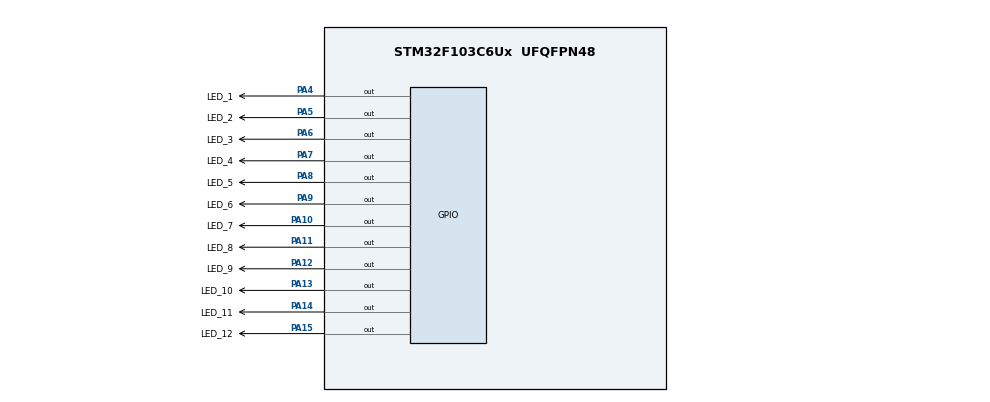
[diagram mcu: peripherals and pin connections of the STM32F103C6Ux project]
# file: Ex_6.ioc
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Mcu.Family=STM32F1
Mcu.Name=STM32F103C6Ux
Mcu.Package=UFQFPN48
NVIC.PriorityGroup=NVIC_PRIORITYGROUP_4
PA10.GPIO_Label=LED_7
PA10.Signal=GPIO_Output
PA11.GPIO_Label=LED_8
PA11.Signal=GPIO_Output
PA12.GPIO_Label=LED_9
PA12.Signal=GPIO_Output
PA13.GPIO_Label=LED_10
PA13.Signal=GPIO_Output
PA14.GPIO_Label=LED_11
PA14.Signal=GPIO_Output
PA15.GPIO_Label=LED_12
PA15.Signal=GPIO_Output
PA4.GPIO_Label=LED_1
PA4.Signal=GPIO_Output
PA5.GPIO_Label=LED_2
PA5.Signal=GPIO_Output
PA6.GPIO_Label=LED_3
PA6.Signal=GPIO_Output
PA7.GPIO_Label=LED_4
PA7.Signal=GPIO_Output
PA8.GPIO_Label=LED_5
PA8.Signal=GPIO_Output
PA9.GPIO_Label=LED_6
PA9.Signal=GPIO_Output
ProjectManager.HeapSize=0x200
ProjectManager.StackSize=0x400
ProjectManager.TargetToolchain=STM32CubeIDE
RCC.APB1Freq_Value=8000000
RCC.APB2Freq_Value=8000000
VP_SYS_VS_ND.Mode=No_Debug
board=custom

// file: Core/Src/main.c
/* USER CODE BEGIN Header */
/**
  ******************************************************************************
  * @file           : main.c
  * @brief          : Main program body
  ******************************************************************************
  * @attention
  *
  * <h2><center>&copy; Copyright (c) 2025 STMicroelectronics.
  * All rights reserved.</center></h2>
  *
  * This software component is licensed by ST under BSD 3-Clause license,
  * the "License"; You may not use this file except in compliance with the
  * License. You may obtain a copy of the License at:
  *                        opensource.org/licenses/BSD-3-Clause
  *
  ******************************************************************************
  */
/* USER CODE END Header */
#include "main.h"

void SystemClock_Config(void);
void clearAllClock();
void setNumberOnClock(int num);
//void clearNumberOnClock(int num);
static void MX_GPIO_Init(void);
/* USER CODE BEGIN PFP */
GPIO_TypeDef *LED_PORTS[12] = {
		LED_1_GPIO_Port, LED_2_GPIO_Port, LED_3_GPIO_Port,
		LED_4_GPIO_Port, LED_5_GPIO_Port, LED_6_GPIO_Port,
		LED_7_GPIO_Port, LED_8_GPIO_Port, LED_9_GPIO_Port,
		LED_10_GPIO_Port, LED_11_GPIO_Port, LED_12_GPIO_Port
};

uint16_t LED_PINS[12] = {
		LED_1_Pin, LED_2_Pin, LED_3_Pin,
		LED_4_Pin, LED_5_Pin, LED_6_Pin,
		LED_7_Pin, LED_8_Pin, LED_9_Pin,
		LED_10_Pin, LED_11_Pin, LED_12_Pin
};

/* USER CODE END PFP */

int main(void)
{
  /* USER CODE BEGIN 1 */
	int cnt_hour = 0;
	int cnt_min = 0;
	int cnt_sec = 0;
  /* USER CODE END 1 */

  /* MCU Configuration--------------------------------------------------------*/

  /* Reset of all peripherals, Initializes the Flash interface and the Systick. */
  HAL_Init();

  /* Configure the system clock */
  SystemClock_Config();

  /* Initialize all configured peripherals */
  MX_GPIO_Init();

  /* Infinite loop */
  while (1)
  {

    /* USER CODE BEGIN 3 */
	  clearAllClock();
	  setNumberOnClock(cnt_hour % 12);
	  setNumberOnClock(cnt_min % 12);
	  setNumberOnClock(cnt_sec % 12);
	  HAL_Delay(1000);
	  cnt_sec++;
	  if (cnt_sec >= 60) {
		  cnt_sec = 0;
		  cnt_min++;
	  }
	  if (cnt_min >= 60) {
		  cnt_min = 0;
		  cnt_hour++;
	  }
	  if (cnt_hour == 12) {
		  cnt_hour = 0;
	  }
//
	  clearAllClock();
  }
  /* USER CODE END 3 */

}

void SystemClock_Config(void)
{
  RCC_OscInitTypeDef RCC_OscInitStruct = {0};
  RCC_ClkInitTypeDef RCC_ClkInitStruct = {0};

  /** Initializes the RCC Oscillators according to the specified parameters
  * in the RCC_OscInitTypeDef structure.
  */
  RCC_OscInitStruct.OscillatorType = RCC_OSCILLATORTYPE_HSI;
  RCC_OscInitStruct.HSIState = RCC_HSI_ON;
  RCC_OscInitStruct.HSICalibrationValue = RCC_HSICALIBRATION_DEFAULT;
  RCC_OscInitStruct.PLL.PLLState = RCC_PLL_NONE;
  if (HAL_RCC_OscConfig(&RCC_OscInitStruct) != HAL_OK)
  {
    Error_Handler();
  }
  /** Initializes the CPU, AHB and APB buses clocks
  */
  RCC_ClkInitStruct.ClockType = RCC_CLOCKTYPE_HCLK|RCC_CLOCKTYPE_SYSCLK
                              |RCC_CLOCKTYPE_PCLK1|RCC_CLOCKTYPE_PCLK2;
  RCC_ClkInitStruct.SYSCLKSource = RCC_SYSCLKSOURCE_HSI;
  RCC_ClkInitStruct.AHBCLKDivider = RCC_SYSCLK_DIV1;
  RCC_ClkInitStruct.APB1CLKDivider = RCC_HCLK_DIV1;
  RCC_ClkInitStruct.APB2CLKDivider = RCC_HCLK_DIV1;

  if (HAL_RCC_ClockConfig(&RCC_ClkInitStruct, FLASH_LATENCY_0) != HAL_OK)
  {
    Error_Handler();
  }
}

static void MX_GPIO_Init(void)
{
  GPIO_InitTypeDef GPIO_InitStruct = {0};

  /* GPIO Ports Clock Enable */
  __HAL_RCC_GPIOA_CLK_ENABLE();

  /*Configure GPIO pin Output Level */
  HAL_GPIO_WritePin(GPIOA, LED_1_Pin|LED_2_Pin|LED_3_Pin|LED_4_Pin
                          |LED_5_Pin|LED_6_Pin|LED_7_Pin|LED_8_Pin
                          |LED_9_Pin|LED_10_Pin|LED_11_Pin|LED_12_Pin, GPIO_PIN_RESET);

  /*Configure GPIO pins : LED_1_Pin LED_2_Pin LED_3_Pin LED_4_Pin
                           LED_5_Pin LED_6_Pin LED_7_Pin LED_8_Pin
                           LED_9_Pin LED_10_Pin LED_11_Pin LED_12_Pin */
  GPIO_InitStruct.Pin = LED_1_Pin|LED_2_Pin|LED_3_Pin|LED_4_Pin
                          |LED_5_Pin|LED_6_Pin|LED_7_Pin|LED_8_Pin
                          |LED_9_Pin|LED_10_Pin|LED_11_Pin|LED_12_Pin;
  GPIO_InitStruct.Mode = GPIO_MODE_OUTPUT_PP;
  GPIO_InitStruct.Pull = GPIO_NOPULL;
  GPIO_InitStruct.Speed = GPIO_SPEED_FREQ_LOW;
  HAL_GPIO_Init(GPIOA, &GPIO_InitStruct);

}

/* USER CODE BEGIN 4 */

void clearAllClock() {
	for (int i = 0; i < 12; i++) {
		HAL_GPIO_WritePin(LED_PORTS[i], LED_PINS[i], 0);
}
}

void setNumberOnClock(int num) {
	HAL_GPIO_WritePin(LED_PORTS[num], LED_PINS[num], 1);
}

//void clearNumberOnClock(int num) {
//	HAL_GPIO_WritePin(LED_PORTS[num], LED_PINS[num], 0);
//}
/* USER CODE END 4 */

void Error_Handler(void)
{
  __disable_irq();
  while (1)
  {
  }
}

/************************ (C) COPYRIGHT STMicroelectronics *****END OF FILE****/
